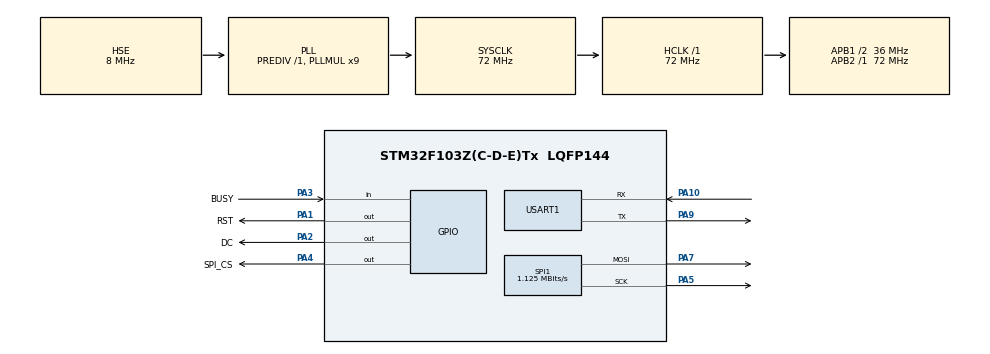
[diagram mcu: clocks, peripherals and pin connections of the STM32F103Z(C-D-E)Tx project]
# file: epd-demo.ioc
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Mcu.Family=STM32F1
Mcu.Name=STM32F103Z(C-D-E)Tx
Mcu.Package=LQFP144
NVIC.PriorityGroup=NVIC_PRIORITYGROUP_4
OSC_IN.Mode=HSE-External-Oscillator
OSC_IN.Signal=RCC_OSC_IN
OSC_OUT.Mode=HSE-External-Oscillator
OSC_OUT.Signal=RCC_OSC_OUT
PA1.GPIO_Label=RST
PA1.Signal=GPIO_Output
PA10.Mode=Asynchronous
PA10.Signal=USART1_RX
PA13.Mode=Serial_Wire
PA13.Signal=SYS_JTMS-SWDIO
PA14.Mode=Serial_Wire
PA14.Signal=SYS_JTCK-SWCLK
PA2.GPIO_Label=DC
PA2.Signal=GPIO_Output
PA3.GPIO_Label=BUSY
PA3.Signal=GPIO_Input
PA4.GPIO_Label=SPI_CS
PA4.Signal=GPIO_Output
PA5.Mode=TX_Only_Simplex_Unidirect_Master
PA5.Signal=SPI1_SCK
PA7.Mode=TX_Only_Simplex_Unidirect_Master
PA7.Signal=SPI1_MOSI
PA9.Mode=Asynchronous
PA9.Signal=USART1_TX
ProjectManager.HeapSize=0x9000
ProjectManager.StackSize=0x1000
ProjectManager.TargetToolchain=MDK-ARM V5
RCC.AHBFreq_Value=72000000
RCC.APB1CLKDivider=RCC_HCLK_DIV2
RCC.APB1Freq_Value=36000000
RCC.APB1TimFreq_Value=72000000
RCC.APB2Freq_Value=72000000
RCC.APB2TimFreq_Value=72000000
RCC.HCLKFreq_Value=72000000
RCC.PLLMUL=RCC_PLL_MUL9
RCC.PLLSourceVirtual=RCC_PLLSOURCE_HSE
RCC.SYSCLKFreq_VALUE=72000000
RCC.SYSCLKSource=RCC_SYSCLKSOURCE_PLLCLK
RCC.USBFreq_Value=72000000
SPI1.BaudRatePrescaler=SPI_BAUDRATEPRESCALER_64
SPI1.CalculateBaudRate=1.125 MBits/s
SPI1.Direction=SPI_DIRECTION_2LINES
SPI1.Mode=SPI_MODE_MASTER
SPI1.VirtualType=VM_MASTER
USART1.VirtualMode=VM_ASYNC
board=epd5in83-demo

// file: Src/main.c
/**
  ******************************************************************************
  * @file           : main.c
  * @brief          : Main program body
  ******************************************************************************
  ******************************************************************************
  */
#include "main.h"
#include "stm32f1xx_hal.h"
#include "spi.h"
#include "usart.h"
#include "gpio.h"

/* USER CODE BEGIN Includes */
#include "EPD_2in13.h"
#include "DEV_Config.h"
#include "GUI_Paint.h"
#include "imagedata.h"
#include <stdlib.h>
/* USER CODE END Includes */

/* USER CODE BEGIN PV */
/* Private variables ---------------------------------------------------------*/

/* USER CODE END PV */

void SystemClock_Config(void);

/* USER CODE BEGIN PFP */
/* Private function prototypes -----------------------------------------------*/

/* USER CODE END PFP */

int main(void)
{

  /* MCU Configuration----------------------------------------------------------*/

  /* Reset of all peripherals, Initializes the Flash interface and the Systick. */
  HAL_Init();

  /* Configure the system clock */
  SystemClock_Config();

  /* Initialize all configured peripherals */
  MX_GPIO_Init();
  MX_USART1_UART_Init();
  MX_SPI1_Init();
  /* USER CODE BEGIN 2 */
		printf("2.13inch e-Paper demo\r\n");
		if(EPD_Init(lut_full_update) != 0) {
        printf("e-Paper init failed\r\n");
    }
    EPD_Clear();
    DEV_Delay_ms(500);

    //Create a new image cache
    UBYTE *BlackImage;
    UWORD Imagesize = ((EPD_WIDTH % 8 == 0)? (EPD_WIDTH / 8 ): (EPD_WIDTH / 8 + 1)) * EPD_HEIGHT;
    if((BlackImage = (UBYTE *)malloc(Imagesize)) == NULL) {
        printf("Failed to apply for memory...\r\n");
        return -1;
    }
    printf("Paint_NewImage\r\n");
    Paint_NewImage(BlackImage, EPD_WIDTH, EPD_HEIGHT, 90, WHITE);
    Paint_SelectImage(BlackImage);
//    Paint_SetMirroring(MIRROR_HORIZONTAL); //
    Paint_Clear(WHITE);

#if 1   //show image for array
    printf("show image for array\r\n");
    Paint_SelectImage(BlackImage);
    Paint_Clear(WHITE);
    Paint_DrawBitMap(gImage_2in13);

    EPD_Display(BlackImage);
    DEV_Delay_ms(2000);
#endif

#if 1   // Drawing on the image
    //1.Select Image
    Paint_SelectImage(BlackImage);
    Paint_Clear(WHITE);

    // 2.Drawing on the image
    Paint_DrawPoint(5, 10, BLACK, DOT_PIXEL_1X1, DOT_STYLE_DFT);
    Paint_DrawPoint(5, 25, BLACK, DOT_PIXEL_2X2, DOT_STYLE_DFT);
    Paint_DrawPoint(5, 40, BLACK, DOT_PIXEL_3X3, DOT_STYLE_DFT);
    Paint_DrawPoint(5, 55, BLACK, DOT_PIXEL_4X4, DOT_STYLE_DFT);

    Paint_DrawLine(20, 10, 70, 60, BLACK, LINE_STYLE_SOLID, DOT_PIXEL_1X1);
    Paint_DrawLine(70, 10, 20, 60, BLACK, LINE_STYLE_SOLID, DOT_PIXEL_1X1);
    Paint_DrawRectangle(20, 10, 70, 60, BLACK, DRAW_FILL_EMPTY, DOT_PIXEL_1X1);
    Paint_DrawRectangle(85, 10, 135, 60, BLACK, DRAW_FILL_FULL, DOT_PIXEL_1X1);

    Paint_DrawLine(45, 15, 45, 55, BLACK, LINE_STYLE_DOTTED, DOT_PIXEL_1X1);
    Paint_DrawLine(25, 35, 70, 35, BLACK, LINE_STYLE_DOTTED, DOT_PIXEL_1X1);
    Paint_DrawCircle(45, 35, 20, BLACK, DRAW_FILL_EMPTY, DOT_PIXEL_1X1);
    Paint_DrawCircle(110, 35, 20, WHITE, DRAW_FILL_FULL, DOT_PIXEL_1X1);

    Paint_DrawString_EN(140, 15, "waveshare", &Font16, BLACK, WHITE);
    Paint_DrawNum(140, 40, 123456789, &Font16, BLACK, WHITE);

    Paint_DrawString_CN(140, 60, "���abc", &Font12CN, BLACK, WHITE);
    Paint_DrawString_CN(5, 65, "΢ѩ����", &Font24CN, WHITE, BLACK);

    EPD_Display(BlackImage);
#endif

#if 1   //Partial refresh, example shows time
    if(EPD_Init(lut_partial_update) != 0) {
        printf("e-Paper init failed\r\n");
    }
		Paint_SelectImage(BlackImage);
    PAINT_TIME sPaint_time;
    sPaint_time.Hour = 12;
    sPaint_time.Min = 34;
    sPaint_time.Sec = 56;
    for (;;) {
        sPaint_time.Sec = sPaint_time.Sec + 1;
        if (sPaint_time.Sec == 60) {
            sPaint_time.Min = sPaint_time.Min + 1;
            sPaint_time.Sec = 0;
            if (sPaint_time.Min == 60) {
                sPaint_time.Hour =  sPaint_time.Hour + 1;
                sPaint_time.Min = 0;
                if (sPaint_time.Hour == 24) {
                    sPaint_time.Hour = 0;
                    sPaint_time.Min = 0;
                    sPaint_time.Sec = 0;
                }
            }
        }
        Paint_ClearWindows(140, 90, 140 + Font20.Width * 7, 90 + Font20.Height, WHITE);
        Paint_DrawTime(140, 90, &sPaint_time, &Font20, WHITE, BLACK);

				EPD_Display(BlackImage);
        DEV_Delay_ms(500);//Analog clock 1s
    }

#endif

    printf("Goto Sleep mode...\r\n");
    EPD_Sleep();

    if(NULL != BlackImage){
        free(BlackImage);
        BlackImage = NULL;
    }
  /* USER CODE END 2 */

  /* Infinite loop */
  while (1)
  {

  }

}

void SystemClock_Config(void)
{

  RCC_OscInitTypeDef RCC_OscInitStruct;
  RCC_ClkInitTypeDef RCC_ClkInitStruct;

    /**Initializes the CPU, AHB and APB busses clocks
    */
  RCC_OscInitStruct.OscillatorType = RCC_OSCILLATORTYPE_HSE;
  RCC_OscInitStruct.HSEState = RCC_HSE_ON;
  RCC_OscInitStruct.HSEPredivValue = RCC_HSE_PREDIV_DIV1;
  RCC_OscInitStruct.HSIState = RCC_HSI_ON;
  RCC_OscInitStruct.PLL.PLLState = RCC_PLL_ON;
  RCC_OscInitStruct.PLL.PLLSource = RCC_PLLSOURCE_HSE;
  RCC_OscInitStruct.PLL.PLLMUL = RCC_PLL_MUL9;
  if (HAL_RCC_OscConfig(&RCC_OscInitStruct) != HAL_OK)
  {
    _Error_Handler(__FILE__, __LINE__);
  }

    /**Initializes the CPU, AHB and APB busses clocks
    */
  RCC_ClkInitStruct.ClockType = RCC_CLOCKTYPE_HCLK|RCC_CLOCKTYPE_SYSCLK
                              |RCC_CLOCKTYPE_PCLK1|RCC_CLOCKTYPE_PCLK2;
  RCC_ClkInitStruct.SYSCLKSource = RCC_SYSCLKSOURCE_PLLCLK;
  RCC_ClkInitStruct.AHBCLKDivider = RCC_SYSCLK_DIV1;
  RCC_ClkInitStruct.APB1CLKDivider = RCC_HCLK_DIV2;
  RCC_ClkInitStruct.APB2CLKDivider = RCC_HCLK_DIV1;

  if (HAL_RCC_ClockConfig(&RCC_ClkInitStruct, FLASH_LATENCY_2) != HAL_OK)
  {
    _Error_Handler(__FILE__, __LINE__);
  }

    /**Configure the Systick interrupt time
    */
  HAL_SYSTICK_Config(HAL_RCC_GetHCLKFreq()/1000);

    /**Configure the Systick
    */
  HAL_SYSTICK_CLKSourceConfig(SYSTICK_CLKSOURCE_HCLK);

  /* SysTick_IRQn interrupt configuration */
  HAL_NVIC_SetPriority(SysTick_IRQn, 0, 0);
}

void _Error_Handler(char *file, int line)
{
  while(1)
  {
  }
}

/************************ (C) COPYRIGHT STMicroelectronics *****END OF FILE****/
